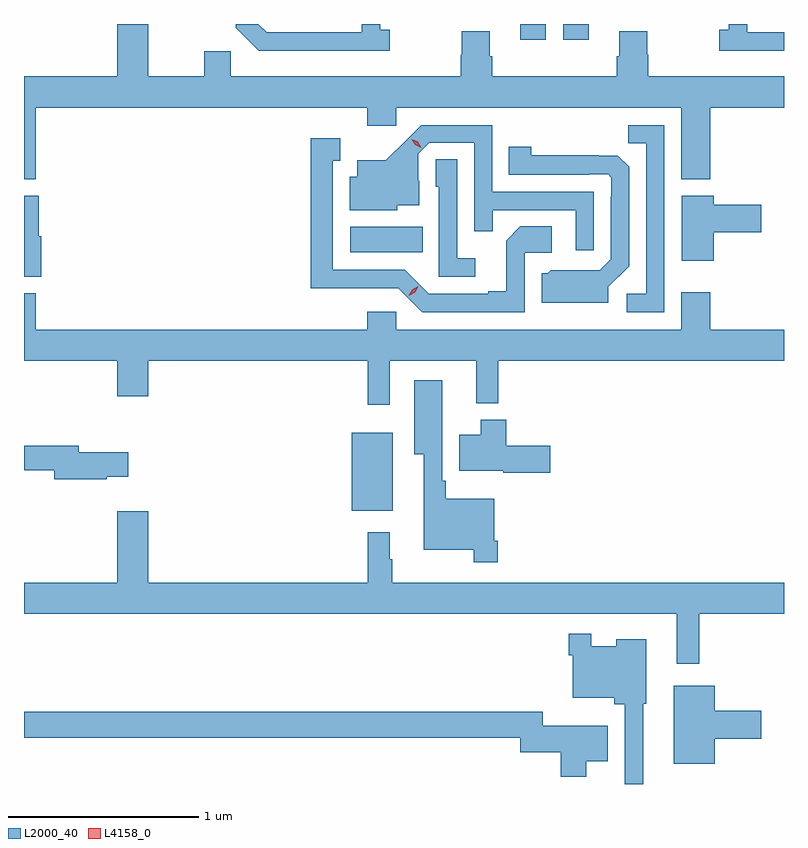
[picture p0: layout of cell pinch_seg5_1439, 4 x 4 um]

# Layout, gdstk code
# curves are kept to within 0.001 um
import gdstk
lib = gdstk.Library(unit=1e-6, precision=1e-09)
def R(c, l, rs):  # rectangles x0, y0, x1, y1
    for r in rs: c.add(gdstk.rectangle(r[:2], r[2:], *l))
def P(c, l, *ps):  # polygons
    for p in ps: c.add(gdstk.Polygon(p, *l))
L2000_40 = (2000, 40)
L4158_0 = (4158, 0)

pinch_seg5_1439 = lib.new_cell('pinch_seg5_1439')
R(pinch_seg5_1439, L2000_40, [(142.268,890.603,142.483,891.013), (142.26,891.962,142.64,892.096), (143.153,893.082,143.289,893.164), (143.379,893.082,143.515,893.164)])
P(pinch_seg5_1439, L2000_40, [(142.468,893.134),(142.416,893.134),(142.416,893.164),(142.319,893.164),(142.319,893.121),(141.819,893.121),(141.776,893.164),(141.657,893.164),(141.657,893.145),(141.778,893.024),(142.468,893.024)],
  [(144.542,893.121),(144.349,893.121),(144.349,893.164),(144.252,893.164),(144.252,893.134),(144.201,893.134),(144.201,893.024),(144.542,893.024)],
  [(140.603,892.724),(142.349,892.724),(142.349,892.629),(142.5,892.629),(142.5,892.724),(144.002,892.724),(144.002,892.346),(144.155,892.346),(144.155,892.724),(144.542,892.724),(144.542,892.888),(143.828,892.888),(143.828,893.001),(143.823,893.001),(143.823,893.126),(143.675,893.126),(143.675,892.994),(143.663,892.994),(143.663,892.888),(143.006,892.888),(143.006,892.994),(142.993,892.994),(142.993,893.126),(142.846,893.126),(142.846,893.001),(142.841,893.001),(142.841,892.888),(141.63,892.888),(141.63,893.02),(141.491,893.02),(141.491,892.888),(141.196,892.888),(141.196,893.164),(141.032,893.164),(141.032,892.888),(140.542,892.888),(140.542,892.346),(140.603,892.346)],
  [(143.541,892.281),(143.007,892.281),(143.007,892.632),(142.634,892.632),(142.447,892.447),(142.295,892.447),(142.295,892.36),(142.256,892.36),(142.256,892.184),(142.506,892.184),(142.506,892.211),(142.621,892.211),(142.621,892.34),(142.617,892.34),(142.617,892.482),(142.674,892.539),(142.911,892.539),(142.911,892.072),(143.009,892.072),(143.009,892.185),(143.445,892.185),(143.445,891.972),(143.541,891.972)],
  [(143.913,892.632),(143.722,892.632),(143.722,892.537),(143.817,892.537),(143.817,891.744),(143.715,891.744),(143.715,891.648),(143.913,891.648)],
  [(143.178,891.96),(143.32,891.96),(143.32,892.1),(143.155,892.1),(143.079,892.024),(143.079,891.757),(142.985,891.757),(142.985,891.744),(142.671,891.744),(142.545,891.87),(142.168,891.87),(142.168,892.443),(142.207,892.443),(142.207,892.564),(142.05,892.564),(142.05,891.773),(142.512,891.774),(142.638,891.648),(143.178,891.648)],
  [(143.617,891.78),(143.727,891.89),(143.727,892.412),(143.668,892.471),(143.211,892.472),(143.211,892.519),(143.092,892.519),(143.092,892.371),(143.516,892.371),(143.516,892.374),(143.616,892.374),(143.634,892.356),(143.634,892.256),(143.631,892.256),(143.631,891.927),(143.571,891.867),(143.314,891.868),(143.298,891.852),(143.267,891.852),(143.267,891.698),(143.617,891.698)],
  [(142.918,891.931),(142.821,891.931),(142.821,892.451),(142.71,892.451),(142.71,892.308),(142.725,892.308),(142.725,891.834),(142.918,891.834)],
  [(140.633,892.047),(140.62,892.047),(140.62,892.261),(140.542,892.261),(140.542,891.833),(140.633,891.833)],
  [(144.172,892.067),(144.421,892.067),(144.421,892.214),(144.172,892.214),(144.172,892.261),(144.005,892.261),(144.005,891.918),(144.172,891.918)],
  [(142.467,891.392),(142.922,891.392),(142.922,891.167),(143.039,891.167),(143.039,891.392),(144.542,891.392),(144.542,891.556),(144.155,891.556),(144.155,891.751),(144.002,891.751),(144.002,891.556),(142.5,891.556),(142.5,891.649),(142.349,891.649),(142.349,891.556),(140.603,891.556),(140.603,891.748),(140.542,891.748),(140.542,891.392),(141.032,891.392),(141.032,891.204),(141.196,891.204),(141.196,891.392),(142.351,891.392),(142.351,891.159),(142.467,891.159)],
  [(143.036,890.443),(143.016,890.443),(143.016,890.665),(142.763,890.665),(142.763,890.761),(142.744,890.761),(142.744,891.289),(142.595,891.289),(142.595,890.9),(142.646,890.9),(142.646,890.396),(142.908,890.396),(142.908,890.331),(143.036,890.331)],
  [(143.311,890.943),(143.081,890.943),(143.081,891.082),(142.946,891.082),(142.946,891.001),(142.832,891.001),(142.832,890.813),(143.064,890.813),(143.064,890.801),(143.311,890.801)],
  [(140.978,890.78),(141.091,890.78),(141.091,890.91),(140.83,890.91),(140.83,890.944),(140.542,890.944),(140.542,890.815),(140.702,890.815),(140.702,890.768),(140.978,890.768)],
  [(144.095,890.06),(144.542,890.06),(144.542,890.224),(142.48,890.224),(142.48,890.348),(142.468,890.348),(142.468,890.488),(142.351,890.488),(142.351,890.224),(141.196,890.224),(141.196,890.599),(141.032,890.599),(141.032,890.224),(140.542,890.224),(140.542,890.06),(143.978,890.06),(143.978,889.797),(144.095,889.797)],
  [(143.8,889.587),(143.818,889.587),(143.818,889.927),(143.66,889.927),(143.66,889.888),(143.527,889.888),(143.527,889.954),(143.41,889.954),(143.41,889.841),(143.43,889.841),(143.43,889.619),(143.648,889.619),(143.648,889.583),(143.703,889.583),(143.703,889.164),(143.8,889.164)],
  [(144.178,889.403),(144.421,889.403),(144.421,889.55),(144.178,889.55),(144.178,889.681),(143.963,889.681),(143.963,889.271),(144.178,889.271)],
  [(143.5,889.283),(143.614,889.283),(143.614,889.471),(143.271,889.471),(143.271,889.544),(140.542,889.544),(140.542,889.408),(143.155,889.408),(143.155,889.332),(143.366,889.332),(143.366,889.202),(143.5,889.202)])
P(pinch_seg5_1439, L4158_0, [(142.632,892.513),(142.601,892.528),(142.583,892.558),(142.583,892.558),(142.584,892.558),(142.614,892.543),(142.632,892.513),(142.632,892.513)],
  [(142.568,891.733),(142.568,891.733),(142.585,891.766),(142.616,891.785),(142.617,891.785),(142.617,891.785),(142.6,891.752),(142.568,891.733)])

lib.write_gds('pinch_seg5_1439.gds')
